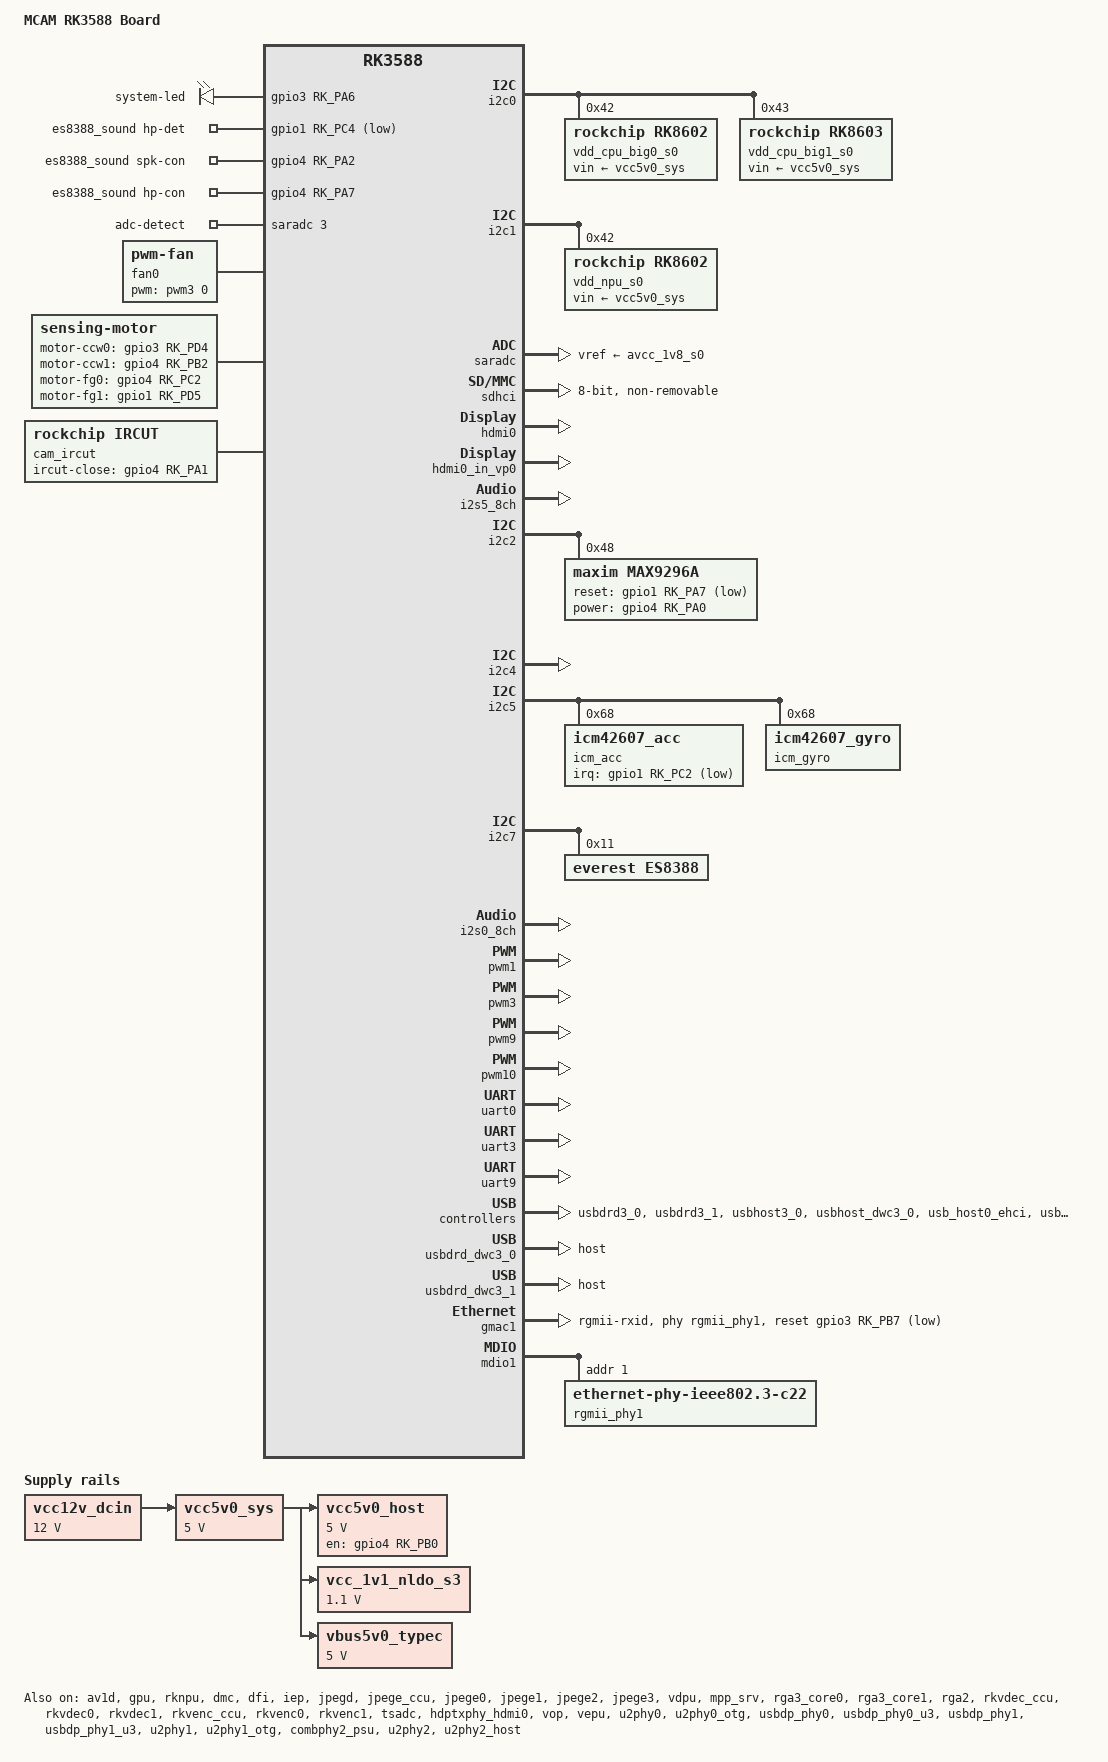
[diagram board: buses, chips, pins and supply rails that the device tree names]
// SPDX-License-Identifier: (GPL-2.0+ OR MIT)
/*
 * Copyright (c) 2021 Rockchip Electronics Co., Ltd.
 * Copyright (c) 2023 Thomas McKahan
 * Modify by dy008
 */

/dts-v1/;

#include <dt-bindings/gpio/gpio.h>
#include <dt-bindings/pwm/pwm.h>
#include <dt-bindings/pinctrl/rockchip.h>
#include <dt-bindings/input/rk-input.h>
#include <dt-bindings/display/drm_mipi_dsi.h>
#include <dt-bindings/display/rockchip_vop.h>
#include <dt-bindings/sensor-dev.h> 
#include "dt-bindings/usb/pd.h"
#include "rk3588.dtsi"
#include "rk3588-android.dtsi"
#include "rk3588-rk806-single.dtsi"

/ {
	model = "MCAM RK3588 Board";
	compatible = "dy008,mcam", "rockchip,rk3588";

	chosen {
		bootargs = "earlycon=uart8250,mmio32,0xfeb50000 console=ttyFIQ0 coherent_pool=1m irqchip.gicv3_pseudo_nmi=0";
		bootargs_ext  = "root=/dev/mmcblk0p8 rootfstype=ext4 rootflags=discard data=/dev/mmcblk0p9 ";
	};

	aliases {
		mmc0 = &sdhci;
		mmc1 = &sdmmc;
	};

	leds {
		compatible = "gpio-leds";
		pinctrl-names = "default";

		sys_led: led-0 {
			gpios = <&gpio3 RK_PA6 GPIO_ACTIVE_HIGH>;
			label = "system-led";
			linux,default-trigger = "heartbeat";
			default-state = "on";
		};
	};

	vcc12v_dcin: vcc12v-dcin{
		compatible = "regulator-fixed";
		regulator-name = "vcc12v_dcin";
		regulator-always-on;
		regulator-boot-on;
		regulator-min-microvolt = <12000000>;
		regulator-max-microvolt = <12000000>;
	}; // ok

	/* vcc5v0_sys powers peripherals */
	vcc5v0_sys: vcc5v0-sys {
		compatible = "regulator-fixed";
		regulator-name = "vcc5v0_sys";
		regulator-always-on;
		regulator-boot-on;
		regulator-min-microvolt = <5000000>;
		regulator-max-microvolt = <5000000>;
		vin-supply = <&vcc12v_dcin>;
	}; // ok

    vcc5v0_host: vcc5v0-host {
		compatible = "regulator-fixed";
		regulator-name = "vcc5v0_host";
		regulator-always-on;
		regulator-boot-on;
		regulator-min-microvolt = <5000000>;
		regulator-max-microvolt = <5000000>;
		vin-supply = <&vcc5v0_sys>;
        enable-active-high;
		gpio = <&gpio4 RK_PB0 GPIO_ACTIVE_HIGH>;
	}; // ok

	vcc_1v1_nldo_s3: vcc-1v1-nldo-s3 {
		compatible = "regulator-fixed";
		regulator-name = "vcc-1v1-nldo-s3";
		regulator-always-on;
		regulator-boot-on;
		regulator-min-microvolt = <1100000>;
		regulator-max-microvolt = <1100000>;
		vin-supply = <&vcc5v0_sys>;
	};	// ok

	vbus5v0_typec: vbus5v0-typec {
		compatible = "regulator-fixed";
		enable-active-high;
		//gpio = <&gpio3 RK_PA6 GPIO_ACTIVE_HIGH>;
		//pinctrl-names = "default";
		//pinctrl-0 = <&typec5v_pwren>;
		regulator-name = "vbus5v0_typec";
		regulator-min-microvolt = <5000000>;
		regulator-max-microvolt = <5000000>;
		vin-supply = <&vcc5v0_sys>;
	};	// ok

/* 	wireless_bluetooth: wireless-bluetooth {
		compatible = "bluetooth-platdata";
		// uart_rts_gpios = <0xe5 0x14 0x01>;
		uart_rts_gpios = <&gpio4 RK_PC4 GPIO_ACTIVE_LOW>;
		pinctrl-names = "default", "rts_gpio";
		pinctrl-0 = <&uart9m0_rtsn>, <&bt_reset_gpio>;
		pinctrl-1 = <&uart9_gpios>;
		// BT,reset_gpio = <0x12f 0x08 0x01>;
		BT,reset_gpio = <&gpio0 RK_PB0 GPIO_ACTIVE_LOW>;
		status = "okay";
	}; */

/* 	wireless_wlan: wireless-wlan {
		compatible = "wlan-platdata";
		wifi_chip_type = "ap6276p";
		status = "okay";
	}; */

	es8388_sound: es8388-sound {
		status = "okay";
		compatible = "rockchip,multicodecs-card";
		rockchip,card-name = "rockchip-es8388";
		hp-det-gpio = <&gpio1 RK_PC4 GPIO_ACTIVE_LOW>;
		io-channels = <&saradc 3>;
		io-channel-names = "adc-detect";
		keyup-threshold-microvolt = <1800000>;
		poll-interval = <100>;
		spk-con-gpio = <&gpio4 RK_PA2 GPIO_ACTIVE_HIGH>;
		hp-con-gpio = <&gpio4 RK_PA7 GPIO_ACTIVE_HIGH>;
		rockchip,format = "i2s";
		rockchip,mclk-fs = <256>;
		rockchip,cpu = <&i2s0_8ch>;
		rockchip,codec = <&es8388>;
		rockchip,audio-routing =
			"Headphone", "LOUT1",
			"Headphone", "ROUT1",
			"Speaker", "LOUT2",
			"Speaker", "ROUT2",
			"Headphone", "Headphone Power",
			"Headphone", "Headphone Power",
			"Speaker", "Speaker Power",
			"Speaker", "Speaker Power",
			"LINPUT1", "Main Mic",
			"LINPUT2", "Main Mic",
			"RINPUT1", "Headset Mic",
			"RINPUT2", "Headset Mic";
		pinctrl-names = "default";
		pinctrl-0 = <&hp_det>;
		
        play-pause-key {
			label = "playpause";
			linux,code = <KEY_PLAYPAUSE>;
			press-threshold-microvolt = <2000>;
		};
	};

	hdmi0_sound: hdmi0-sound {
		status = "okay";
		compatible = "rockchip,hdmi";
		rockchip,mclk-fs = <128>;
		rockchip,card-name = "rockchip-hdmi0";
		rockchip,cpu = <&i2s5_8ch>;
		rockchip,codec = <&hdmi0>;
		rockchip,jack-det;
	};	// ok

	fan0: pwm-fan {
		compatible = "pwm-fan";
		#cooling-cells = <2>;
		cooling-levels = <0x00 0x32 0x64 0x96 0xc8 0xff>;
		rockchip,temp-trips = <0xc350 0x01 0xd6d8 0x02 0xea60 0x03 0xfde8 0x04 0x11170 0x05>;
		pwms = <&pwm3 0 50000 0>;
	};

    motor {
		compatible = "sensing-motor";
		status = "okay";
		pinctrl-names = "default";
		pinctrl-0 = <&ccw_fg>;
		motor-ccw0 = <&gpio3 RK_PD4 GPIO_ACTIVE_HIGH>;
		motor-ccw1 = <&gpio4 RK_PB2 GPIO_ACTIVE_HIGH>;
		motor-fg0 = <&gpio4 RK_PC2 IRQ_TYPE_EDGE_BOTH>;
		motor-fg1 = <&gpio1 RK_PD5 IRQ_TYPE_EDGE_BOTH>;

		motor-pwm0 {
			pwms = <&pwm9 0 50000 1>;
			pwm-names = "motor-pwm0";
		};

		motor-pwm1 {
			pwms = <&pwm10 0 50000 1>;
			pwm-names = "motor-pwm1";
		};
	};

	cam_ircut {
		status = "okay";
		compatible = "rockchip,ircut";
		ircut-close-gpios = <&gpio4 RK_PA1 GPIO_ACTIVE_HIGH>;
		rockchip,camera-module-index = <0x00>;
		rockchip,camera-module-facing = "back";
	};


};

&av1d {
	status = "okay";
};

&av1d_mmu {
	status = "okay";
};

&cpu_l0 {
	cpu-supply = <&vdd_cpu_lit_s0>;
	mem-supply = <&vdd_cpu_lit_mem_s0>;
};

&cpu_b0 {
	cpu-supply = <&vdd_cpu_big0_s0>;
	mem-supply = <&vdd_cpu_big0_mem_s0>;
};

&cpu_b2 {
	cpu-supply = <&vdd_cpu_big1_s0>;
	mem-supply = <&vdd_cpu_big1_mem_s0>;
};

&gpu {
	mali-supply = <&vdd_gpu_s0>;
	mem-supply = <&vdd_gpu_mem_s0>;
	upthreshold = <60>;
	downdifferential = <30>;
	status = "okay";
};

&rknpu {
	rknpu-supply = <&vdd_npu_s0>;
	mem-supply = <&vdd_npu_mem_s0>;
	status = "okay";
};

&rknpu_mmu {
	status = "okay";
};

&i2c0 {
	status = "okay";
	pinctrl-names = "default";
	pinctrl-0 = <&i2c0m2_xfer>;

	vdd_cpu_big0_s0: vdd_cpu_big0_mem_s0: rk8602@42 {
		compatible = "rockchip,rk8602";
		reg = <0x42>;
		vin-supply = <&vcc5v0_sys>;
		regulator-compatible = "rk860x-reg";
		regulator-name = "vdd_cpu_big0_s0";
		regulator-min-microvolt = <550000>;
		regulator-max-microvolt = <1050000>;
		regulator-ramp-delay = <2300>;
		rockchip,suspend-voltage-selector = <1>;
		regulator-boot-on;
		regulator-always-on;
		regulator-state-mem {
			regulator-off-in-suspend;
		};
	};

	vdd_cpu_big1_s0: vdd_cpu_big1_mem_s0: rk8603@43 {
		compatible = "rockchip,rk8603";
		reg = <0x43>;
		vin-supply = <&vcc5v0_sys>;
		regulator-compatible = "rk860x-reg";
		regulator-name = "vdd_cpu_big1_s0";
		regulator-min-microvolt = <550000>;
		regulator-max-microvolt = <1050000>;
		regulator-ramp-delay = <2300>;
		rockchip,suspend-voltage-selector = <1>;
		regulator-boot-on;
		regulator-always-on;
		regulator-state-mem {
			regulator-off-in-suspend;
		};
	};
};	// ok

&i2c1 {
	status = "okay";
	pinctrl-names = "default";
	pinctrl-0 = <&i2c1m2_xfer>;

	vdd_npu_s0: vdd_npu_mem_s0: rk8602@42 {
		compatible = "rockchip,rk8602";
		reg = <0x42>;
		vin-supply = <&vcc5v0_sys>;
		regulator-compatible = "rk860x-reg";
		regulator-name = "vdd_npu_s0";
		regulator-min-microvolt = <550000>;
		regulator-max-microvolt = <950000>;
		regulator-ramp-delay = <2300>;
		rockchip,suspend-voltage-selector = <1>;
		regulator-boot-on;
		regulator-always-on;
		regulator-state-mem {
			regulator-off-in-suspend;
		};
	};
};	// ok

&dmc {
	center-supply = <&vdd_ddr_s0>;
	mem-supply = <&vdd_log_s0>;
	status = "okay";
};

&dfi {
	status = "okay";
};

&iep {
	status = "okay";
};

&iep_mmu {
	status = "okay";
};

&jpegd {
	status = "okay";
};

&jpegd_mmu {
	status = "okay";
};

&jpege_ccu {
	status = "okay";
};

&jpege0 {
	status = "okay";
};

&jpege0_mmu {
	status = "okay";
};

&jpege1 {
	status = "okay";
};

&jpege1_mmu {
	status = "okay";
};

&jpege2 {
	status = "okay";
};

&jpege2_mmu {
	status = "okay";
};

&jpege3 {
	status = "okay";
};

&jpege3_mmu {
	status = "okay";
};

&vdpu {
	status = "okay";
};

&vdpu_mmu {
	status = "okay";
};

&mpp_srv {
	status = "okay";
};

&rga3_core0 {
	status = "okay";
};

&rga3_0_mmu {
	status = "okay";
};

&rga3_core1 {
	status = "okay";
};

&rga3_1_mmu {
	status = "okay";
};

&rga2 {
	status = "okay";
};

&rkvdec_ccu {
	status = "okay";
};

&rkvdec0 {
	status = "okay";
};

&rkvdec0_mmu {
	status = "okay";
};

&rkvdec1 {
	status = "okay";
};

&rkvdec1_mmu {
	status = "okay";
};

&rkvenc_ccu {
	status = "okay";
};

&rkvenc0 {
	status = "okay";
};

&rkvenc0_mmu {
	status = "okay";
};

&rkvenc1 {
	status = "okay";
};

&rkvenc1_mmu {
	status = "okay";
};

&saradc {
	vref-supply = <&avcc_1v8_s0>;
	status = "okay";
};

&sdhci {
	bus-width = <8>;
	no-sdio;
	no-sd;
	non-removable;
	max-frequency = <200000000>;
	mmc-hs400-1_8v;
	mmc-hs400-enhanced-strobe;
	status = "okay";
};

&sdmmc {
	status = "disabled";
};

&sdio {
	status = "disabled";
};

&soc_thermal {
	polling-delay = <1000>;
	polling-delay-passive = <2000>;
	trips {
		trip0: trip-point@0 {
			temperature = <45000>;
			hysteresis = <5000>;
			type = "active";
		};
		trip1: trip-point@1 {
			temperature = <50000>;
			hysteresis = <5000>;
			type = "active";
		};
		trip2: trip-point@2 {
			temperature = <55000>;
			hysteresis = <5000>;
			type = "active";
		};
		trip3: trip-point@3 {
			temperature = <60000>;
			hysteresis = <5000>;
			type = "active";
		};
		trip4: trip-point@4 {
			temperature = <65000>;
			hysteresis = <5000>;
			type = "active";
		};
		trip5: trip-point@5 {
			temperature = <70000>;
			hysteresis = <5000>;
			type = "active";
		};
		trip6: trip-point@6 {
			temperature = <75000>;
			hysteresis = <5000>;
			type = "active";
		};
		pcritical: trip-point@7 {
			temperature = <80000>;
			hysteresis = <1000>;
			type = "active";
		};
	};
	cooling-maps {
		map0 {
			trip = <&trip0>;
			cooling-device = <&fan0 0 1>;
			contribution = <1024>;
		};
		map1 {
			trip = <&trip1>;
			cooling-device = <&fan0 1 2>;
			contribution = <1024>;
		};
		map2 {
			trip = <&trip2>;
			cooling-device = <&fan0 2 3>;
			contribution = <1024>;
		};
		map3 {
			trip = <&trip3>;
			cooling-device = <&fan0 3 4>;
			contribution = <1024>;
		};
		map4 {
			trip = <&trip4>;
			cooling-device = <&fan0 4 5>;
			contribution = <1024>;
		};
		map5 {
			trip = <&trip5>;
			cooling-device = <&fan0 5 6>;
			contribution = <1024>;
		};
		map6 {
			trip = <&trip6>;
			cooling-device = <&fan0 6 7>;
			contribution = <1024>;
		};
		map7 {
			trip = <&pcritical>;
			cooling-device = <&fan0 7 8>;
			contribution = <1024>;
		};
	};
};

&tsadc {
	status = "okay";
};

&display_subsystem {
	clocks = <&hdptxphy_hdmi0>;
	clock-names =  "hdmi0_phy_pll";

	route {
		route_hdmi0: route-hdmi0 {
			status = "okay";
			logo,uboot = "boot.bmp";
			logo,kernel = "boot-desktop.png";
			logo,mode = "center";
			charge_logo,mode = "center";
			connect = <&vp0_out_hdmi0>;
		};
	};
};

&hdptxphy_hdmi0 {
	status = "okay";
};

&hdmi0 {
	status = "okay";
	//cec-enable = "true";
	enable-gpios = <&gpio4 RK_PB1 GPIO_ACTIVE_HIGH>;
	pinctrl-names = "default";
	pinctrl-0 = <&hdmim0_tx0_cec &hdmim0_tx0_hpd &hdmim0_tx0_scl &hdmim0_tx0_sda>;
};

&hdmi0_in_vp0 {
	status = "okay";
};

&hdmi0_in_vp1 {
	status = "disabled";
};

&hdmi0_in_vp2 {
	status = "disabled";
};

&i2s5_8ch {
	status = "okay";
};

&vop {
	vop-supply = <&vdd_log_s0>;
	support-multi-area;
	status = "okay";
};

&vop_mmu {
	status = "okay";
};

&vepu {
	status = "okay";
};

/* vp0 & vp1 splice for 8K output */
&vp0 {
    rockchip,plane-mask = <(1 << ROCKCHIP_VOP2_CLUSTER0 | 1 << ROCKCHIP_VOP2_ESMART0)>;
    rockchip,primary-plane = <ROCKCHIP_VOP2_ESMART0>;
};

&vp1 {
    rockchip,plane-mask = <(1 << ROCKCHIP_VOP2_CLUSTER1 | 1 << ROCKCHIP_VOP2_ESMART1)>;
    rockchip,primary-plane = <ROCKCHIP_VOP2_ESMART1>;
};

&vp2 {
    rockchip,plane-mask = <(1 << ROCKCHIP_VOP2_CLUSTER2 | 1 << ROCKCHIP_VOP2_ESMART2)>;
    rockchip,primary-plane = <ROCKCHIP_VOP2_ESMART2>;
};

&vp3 {
    rockchip,plane-mask = <(1 << ROCKCHIP_VOP2_CLUSTER3 | 1 << ROCKCHIP_VOP2_ESMART3)>;
    rockchip,primary-plane = <ROCKCHIP_VOP2_ESMART3>;
};

&i2c2 {
    status = "okay";
	pinctrl-names = "default";
	pinctrl-0 = <&i2c2m4_xfer>;

	max9296a: max9296a@48 {
			reg = <0x48>;
			compatible = "maxim,max9296a";
            max,reset-gpio = <&gpio1 RK_PA7 GPIO_ACTIVE_LOW>;
			max,power-gpio = <&gpio4 RK_PA0 GPIO_ACTIVE_HIGH>;
			data-lanes-number = <0x04>;
			power_in_uboot = <0x00>;
			rockchip,camera-module-index = <0x00>;
			rockchip,camera-module-facing = "back";
			rockchip,camera-module-name = "max9296a";
			rockchip,camera-module-lens-name = "max9296a";
			status = "okay";
		};
};

&i2c4 {
	status = "okay";
	pinctrl-names = "default";
	pinctrl-0 = <&i2c4m1_xfer>;
};	// ok

&i2c5 {
	status = "okay";
	pinctrl-names = "default";
	pinctrl-0 = <&i2c5m0_xfer>;

	icm_acc: icm-acc@68 {
			status = "okay";
			compatible = "icm42607_acc";
			reg = <0x68>;
			irq-gpio = <&gpio1 RK_PC2 GPIO_ACTIVE_LOW>;
			irq_enable = <0x00>;
			poll_delay_ms = <0x1e>;
			type = <0x02>;
			layout = <0x00>;
		};
    
    icm_gyro: icm-gyro@68 {
			status = "okay";
			compatible = "icm42607_gyro";
			reg = <0x68>;
			poll_delay_ms = <0x1e>;
			type = <0x04>;
			layout = <0x00>;
		};
};	// ok

&i2c7 {
    status = "okay";
    pinctrl-names = "default";
	pinctrl-0 = <&i2c7m0_xfer>;
    
    es8388: es8388@11 {
        status = "okay";
        #sound-dai-cells = <0>;
        compatible = "everest,es8388", "everest,es8323";
        reg = <0x11>;
        clocks = <&mclkout_i2s0>;
        clock-names = "mclk";
        assigned-clocks = <&mclkout_i2s0>;
        assigned-clock-rates = <12288000>;
        pinctrl-names = "default";
        pinctrl-0 = <&i2s0_mclk>;
    };
};

&i2s0_8ch {
	status = "okay";
	rockchip,playback-channels = <2>;
	rockchip,capture-channels = <2>;
	#sound-dai-cells = <0>;
	pinctrl-names = "default";
	pinctrl-0 = <&i2s0_lrck
			 &i2s0_sclk
			 &i2s0_sdi0
			 &i2s0_sdo0>;
};

&rockchip_suspend {
	compatible = "rockchip,pm-rk3588";
	status = "okay";
	rockchip,sleep-debug-en = <1>;
	rockchip,sleep-mode-config = <
		(0
		| RKPM_SLP_ARMOFF_DDRPD
		)
	>;
	rockchip,wakeup-config = <
		(0
		| RKPM_GPIO_WKUP_EN
		| RKPM_USB_WKUP_EN
		)
	>;
};

&avdd_0v75_s0 {
	regulator-state-mem {
		regulator-on-in-suspend;
		regulator-suspend-microvolt = <837500>;
	};
};

&avcc_1v8_s0 {
	regulator-state-mem {
		regulator-on-in-suspend;
		regulator-suspend-microvolt = <1800000>;
	};
};

&vcc_1v8_s0 {
	regulator-state-mem {
		regulator-on-in-suspend;
		regulator-suspend-microvolt = <1800000>;
	};
};

&vcc_3v3_s0 {
	regulator-state-mem {
		regulator-on-in-suspend;
		regulator-suspend-microvolt = <3300000>;
	};
};

&vdd_log_s0 {
	regulator-state-mem {
		regulator-on-in-suspend;
		regulator-suspend-microvolt = <750000>;
	};
};

&vdd_ddr_pll_s0 {
	regulator-state-mem {
		regulator-on-in-suspend;
		regulator-suspend-microvolt = <850000>;
	};
};

&pwm1 {
	pinctrl-0 = <&pwm1m0_pins>;
	status = "okay";
};

&pwm3 {
	pinctrl-0 = <&pwm3m1_pins>;
	status = "okay";
};

&pwm9 {
	pinctrl-0 = <&pwm9m2_pins>;
	status = "okay";
};

&pwm10 {
	pinctrl-0 = <&pwm10m2_pins>;
	status = "okay";
};

&uart0 {
	pinctrl-0 = <&uart0m2_xfer>;
	status = "okay";
};

&uart3 {
	pinctrl-0 = <&uart3m2_xfer>;
	status = "okay";
};

&uart9 {
	pinctrl-0 = <&uart9m0_xfer &uart9m0_ctsn>;
	status = "okay";
};

//* Type-C0 USB 3.1/DP 
&usbdrd3_0{
	status = "okay";
};

// #USB3.1 OTG0 Controller
&usbdrd_dwc3_0 {
	status = "okay";
    dr_mode = "host";
    maximum-speed ="high-speed";
};

&u2phy0 {
    status = "okay";
};

&u2phy0_otg {
	status = "okay";
    phy-supply = <&vcc5v0_host>;
};

&usbdp_phy0 {
	status = "okay";
};

&usbdp_phy0_dp {
	status = "disabled";
};

&usbdp_phy0_u3 {
	status = "okay";
};

//* Type-C1 USB 3.1/DP
&usbdrd3_1{
	status = "okay";
};

&usbdrd_dwc3_1{
	status = "okay";
	dr_mode = "host";
	maximum-speed ="high-speed";
};

&usbdp_phy1 {
	status = "okay";
};

&usbdp_phy1_dp {
	status = "disabled";
};

&usbdp_phy1_u3 {
	status = "okay";
};

// USB2.0 PHY1
&u2phy1 {
    status = "okay";
};

&u2phy1_otg {
    status = "okay";
};

/* Type-A USB 3.1 DTS 配置 */
&usbhost3_0 {
    status = "okay";
};

&usbhost_dwc3_0 {
    status = "okay";
};

&combphy2_psu {
	status = "okay";
};

// #USB2.0 HOST0/1 Controller
&usb_host0_ehci {
    status = "okay";
};

&usb_host0_ohci {
    status = "okay";
};

&usb_host1_ehci {
    status = "disabled";
};

&usb_host1_ohci {
    status = "disabled";
};

// #USB2.0 PHY2/3 可以配置"phy-supply"属性，用于控制VBUS输出5V
&u2phy2 {
	status = "okay";
};

&u2phy2_host {
	status = "okay";
};

&u2phy3 {
	status = "disabled";
};

&u2phy3_host {
	status = "disabled";
};

&gmac1 {
	/* Use rgmii-rxid mode to disable rx delay inside Soc */
	phy-mode = "rgmii-rxid";
	clock_in_out = "output";

	snps,reset-gpio = <&gpio3 RK_PB7 GPIO_ACTIVE_LOW>;
	snps,reset-active-low;
	/* Reset time is 20ms, 100ms for rtl8211f */
	snps,reset-delays-us = <0 20000 100000>;

	pinctrl-names = "default";
	pinctrl-0 = <&gmac1_miim
			 &gmac1_tx_bus2
			 &gmac1_rx_bus2
			 &gmac1_rgmii_clk
			 &gmac1_rgmii_bus>;

	tx_delay = <0x43>;
	/* rx_delay = <0x4f>; */

	phy-handle = <&rgmii_phy1>;
	status = "okay";
};

&mdio1 {
	rgmii_phy1: phy@1 {
		compatible = "ethernet-phy-ieee802.3-c22";
		reg = <0x01>;
	};
};

&pinctrl {

	usb-typec {

			usbc0_int: usbc0-int {
				rockchip,pins = <3 RK_PB6 RK_FUNC_GPIO &pcfg_pull_up>;
			};

			typec5v_pwren: typec5v-pwren {
				rockchip,pins = <3 RK_PA6 RK_FUNC_GPIO &pcfg_pull_none>;
			};
	};

    headphone {
        hp_det: hp-det {
            rockchip,pins = <1 RK_PC4 RK_FUNC_GPIO &pcfg_pull_none>;
        };
    };

    motor {

			ccw_fg: ccw-fg {
				rockchip,pins = <3 RK_PD4 RK_FUNC_GPIO &pcfg_pull_none 4 RK_PB2 RK_FUNC_GPIO &pcfg_pull_none 4 RK_PC2 RK_FUNC_GPIO &pcfg_pull_none 1 RK_PD5 RK_FUNC_GPIO &pcfg_pull_none>;
			};
		};

};

&gpio0 {
	gpio-line-names =
		/* GPIO0_A0-A3 */
		"", "", "", "",
		/* GPIO0_A4-A7 */
		"", "", "", "",

		/* GPIO0_B0-B3 */
		"", "", "", "",
		/* GPIO0_B4-B7 */
		"", "PIN_8", "PIN_10", "",

		/* GPIO0_C0-C3 */
		"", "", "", "",
		/* GPIO0_C4-C7 */
		"", "", "", "",

		/* GPIO0_D0-D3 */
		"", "", "", "",
		/* GPIO0_D4-D7 */
		"", "", "", "";
};

&gpio1 {
	gpio-line-names =
		/* GPIO1_A0-A3 */
		"", "", "", "",
		/* GPIO1_A4-A7 */
		"", "", "", "",

		/* GPIO1_B0-B3 */
		"", "PIN_21", "PIN_19", "PIN_23",
		/* GPIO1_B4-B7 */
		"PIN_24", "PIN_26", "", "PIN_31",

		/* GPIO1_C0-C3 */
		"", "", "", "",
		/* GPIO1_C4-C7 */
		"", "", "", "",

		/* GPIO1_D0-D3 */
		"", "", "", "",
		/* GPIO1_D4-D7 */
		"", "", "", "PIN_29";
};

&gpio2 {
	gpio-line-names =
		/* GPIO2_A0-A3 */
		"", "", "", "",
		/* GPIO2_A4-A7 */
		"", "", "", "",

		/* GPIO2_B0-B3 */
		"", "", "", "",
		/* GPIO2_B4-B7 */
		"", "", "", "",

		/* GPIO2_C0-C3 */
		"", "", "", "",
		/* GPIO2_C4-C7 */
		"", "", "", "",

		/* GPIO2_D0-D3 */
		"", "", "", "",
		/* GPIO2_D4-D7 */
		"", "", "", "";
};

&gpio3 {
	gpio-line-names =
		/* GPIO3_A0-A3 */
		"", "", "", "",
		/* GPIO3_A4-A7 */
		"PIN_16", "", "", "PIN_33",

		/* GPIO3_B0-B3 */
		"", "PIN_36", "PIN_38", "PIN_40",
		/* GPIO3_B4-B7 */
		"", "PIN_12", "PIN_35", "PIN_13",

		/* GPIO3_C0-C3 */
		"PIN_15", "PIN_11", "PIN_32", "PIN_7",
		/* GPIO3_C4-C7 */
		"", "", "", "",

		/* GPIO3_D0-D3 */
		"", "", "", "",
		/* GPIO3_D4-D7 */
		"", "", "", "";
};

&gpio4 {
	gpio-line-names =
		/* GPIO4_A0-A3 */
		"", "", "", "",
		/* GPIO4_A4-A7 */
		"", "", "", "",

		/* GPIO4_B0-B3 */
		"", "", "PIN_5", "PIN_3",
		/* GPIO4_B4-B7 */
		"", "", "", "",

		/* GPIO4_C0-C3 */
		"", "", "", "",
		/* GPIO4_C4-C7 */
		"PIN_18", "PIN_28", "PIN_27", "",

		/* GPIO4_D0-D3 */
		"", "", "", "",
		/* GPIO4_D4-D7 */
		"", "", "", "";
};
